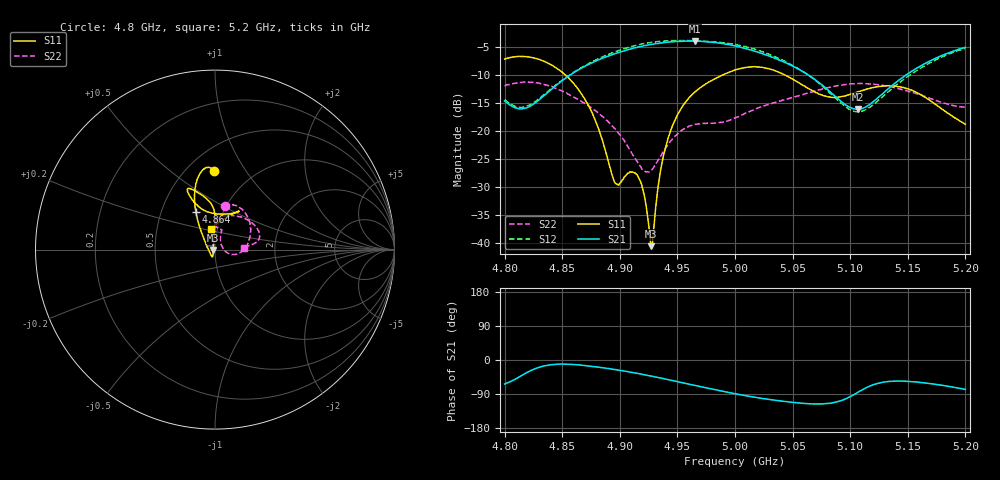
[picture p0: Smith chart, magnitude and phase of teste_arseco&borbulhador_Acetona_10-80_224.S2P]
! Network Analyzer HP8722D
! Hewlett-Packard
! Data name: Linha & Wilkinson
! Saver's name: Rodrigo Anjos
! Comments: Teste da utilização de aquisição
! continua pelo VNA HP8722D
! Time and date: 25/4/2025 17:08
!  Frequency  S11  S21  S12  S22
# HZ  S  MA R 50
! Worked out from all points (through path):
!   401 points, 4.8 GHz to 5.2 GHz, reference 50 ohm
!   highest |S21| = -3.99 dB at 4.965 GHz (marker M1); lowest = -16.2 dB at 5.107 GHz (marker M2)
!   lowest |S11| = -40.5 dB at 4.927 GHz (marker M3), VSWR 1.02, Z = 49.1 - j0.218 ohm
!   |S11| at or under -10 dB: 4.852 GHz to 4.99 GHz (137.3 MHz wide, 2.79 % of centre); 5.043 GHz to end of sweep
!   |S22| runs from -27.4 to -11.3 dB; largest |S21 - S12| = 1.2
!   S11 on the Smith chart (normalised r, x): 4.8 GHz: 0.67, +0.72; 4.864 GHz: 0.74, +0.33; 5.2 GHz: 0.93, +0.21
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4.8e9  0.4364 91.0  0.1843 -63.4  0.1896 69.9  0.2505 77.2
4.82e9  0.455 97.2  0.1618 -32.0  0.1669 98.8  0.2727 61.5
4.844e9  0.3685 107.2  0.2507 -11.5  0.2537 119.2  0.2395 35.5
4.864e9  0.2348 117.1  0.3495 -12.8  0.3528 121.0  0.1897 11.9
4.867e9  0.2112 118.9  0.3628 -14.0  0.3673 120.6  0.182 8.7
4.88e9  0.1151 129.0  0.4228 -18.3  0.4321 118.3  0.1483 -5.1
4.896e9  0.03419 -170.7  0.4876 -25.3  0.5069 113.2  0.1042 -15.7
4.91e9  0.04277 -110.5  0.5379 -32.5  0.5636 107.0  0.0644 -12.7
4.917e9  0.03722 -107.9  0.5607 -36.4  0.5869 103.5  0.04937 0.3
4.921e9  0.02725 -113.1  0.5746 -38.6  0.5983 101.3  0.04436 13.3
4.927e9  0.009404 -166.3  0.587 -42.4  0.6136 97.6  0.04424 37.7
4.929e9  0.01203 140.0  0.5905 -43.3  0.6186 96.5  0.04663 45.5
4.934e9  0.03619 101.8  0.6013 -46.9  0.6274 93.2  0.05636 57.6
4.946e9  0.1128 90.6  0.6212 -54.4  0.6357 85.7  0.08551 69.3
4.965e9  0.2206 91.4  0.6316 -67.1  0.6331 73.4  0.1143 70.8
5e9  0.3484 109.3  0.5713 -89.0  0.5899 50.8  0.1301 87.8
5.03e9  0.3564 115.3  0.4621 -104.0  0.4785 33.9  0.1728 85.3
5.067e9  0.2284 105.7  0.2987 -115.7  0.296 23.6  0.2226 57.0
5.107e9  0.2232 64.9  0.1558 -84.8  0.1474 58.4  0.2635 24.0
5.134e9  0.2519 58.1  0.2415 -56.4  0.2271 88.8  0.248 12.2
5.169e9  0.1873 71.0  0.418 -62.0  0.4018 84.7  0.1954 6.9
5.2e9  0.1146 101.2  0.5546 -77.6  0.5436 70.1  0.1624 3.6
